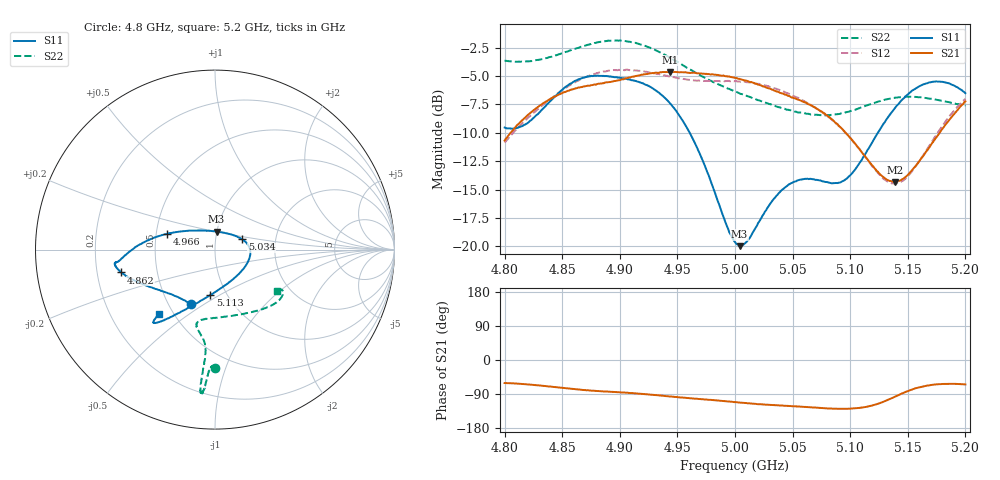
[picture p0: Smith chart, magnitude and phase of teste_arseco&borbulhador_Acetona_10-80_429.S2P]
! Network Analyzer HP8722D
! Hewlett-Packard
! Data name: Linha & Wilkinson
! Saver's name: Rodrigo Anjos
! Comments: Teste da utilização de aquisição
! continua pelo VNA HP8722D
! Time and date: 17/4/2025 17:56
!  Frequency  S11  S21  S12  S22
# HZ  S  MA R 50
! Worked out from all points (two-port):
!   401 points, 4.8 GHz to 5.2 GHz, reference 50 ohm
!   highest |S21| = -4.64 dB at 4.944 GHz (marker M1); lowest = -14.3 dB at 5.139 GHz (marker M2)
!   |S21| within 3 dB of the highest: 4.83 GHz to 5.067 GHz (237.1 MHz wide, 4.79 % of centre); 5.19616 GHz to end of sweep
!   lowest |S11| = -20.0 dB at 5.004 GHz (marker M3), VSWR 1.22, Z = 49.9 + j10 ohm
!   |S11| at or under -10 dB: 4.961 GHz to 5.124 GHz (163.3 MHz wide, 3.24 % of centre)
!   |S22| runs from -8.5 to -1.9 dB; largest |S21 - S12| = 0.88
!   S11 on the Smith chart (normalised r, x): 4.8 GHz: 0.64, -0.44; 4.862 GHz: 0.31, -0.11; 4.966 GHz: 0.57, +0.11; 5.034 GHz: 1.35, +0.16; 5.113 GHz: 0.84, -0.45; 5.2 GHz: 0.42, -0.39
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4.8e9  0.3336 -113.7  0.2923 -60.8  0.2864 -175.1  0.6578 -90.0
4.819e9  0.3468 -133.7  0.374 -64.1  0.3625 -173.6  0.6529 -91.7
4.862e9  0.5371 -166.3  0.4967 -77.4  0.5312 -177.0  0.7439 -93.9
4.867e9  0.5498 -168.3  0.5027 -78.8  0.5471 -177.9  0.7579 -94.2
4.9e9  0.5529 -172.8  0.5392 -85.2  0.5983 175.4  0.8057 -95.5
4.934e9  0.4748 -178.7  0.5811 -93.6  0.5746 171.7  0.7182 -96.0
4.944e9  0.4246 176.5  0.5863 -96.5  0.5591 171.8  0.6761 -95.7
4.966e9  0.2793 161.5  0.5798 -102.1  0.5375 173.7  0.5813 -95.2
5e9  0.1044 98.9  0.5519 -111.1  0.535 176.1  0.4808 -99.5
5.004e9  0.1001 85.1  0.5464 -112.2  0.532 176.1  0.4718 -100.3
5.012e9  0.1076 59.9  0.5312 -114.3  0.5265 175.8  0.4566 -102.0
5.034e9  0.1625 20.7  0.4854 -119.3  0.4967 174.9  0.4168 -103.7
5.049e9  0.1899 5.4  0.4526 -121.7  0.4638 174.1  0.3961 -100.1
5.067e9  0.1976 -13.8  0.4158 -125.1  0.4168 173.6  0.3808 -90.7
5.093e9  0.1933 -58.4  0.329 -128.7  0.3286 174.1  0.3853 -70.4
5.113e9  0.2544 -95.7  0.2484 -124.2  0.2482 -179.8  0.415 -54.9
5.134e9  0.3774 -116.9  0.1941 -103.7  0.191 -156.6  0.4467 -43.0
5.139e9  0.4082 -119.9  0.1922 -96.6  0.1886 -148.6  0.4516 -40.8
5.151e9  0.4714 -124.9  0.209 -80.8  0.2061 -130.3  0.4558 -36.4
5.17e9  0.5281 -129.2  0.279 -66.1  0.2842 -112.3  0.4468 -32.0
5.184e9  0.5247 -130.6  0.3503 -63.1  0.3622 -107.3  0.4333 -31.0
5.2e9  0.4725 -131.0  0.435 -64.5  0.4463 -106.6  0.4173 -33.5
